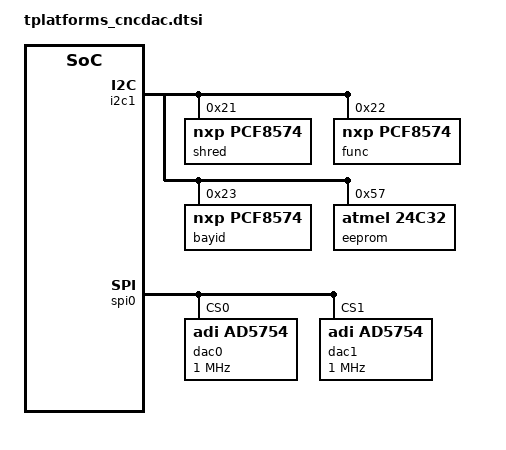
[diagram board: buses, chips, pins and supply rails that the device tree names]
/*
 * Baikal-T/T1 CNC DAC board device tree
 *
 * Copyright (C) 2018 T-platforms JSC
 *
 * This program is free software; you can redistribute it and/or
 * modify it under the terms of the GNU General Public License
 * as published by the Free Software Foundation; either version 2
 * of the License, or (at your option) any later version.
 */

/ {
	/* Reserve memory regions for CMA and NTB */
	reserved-memory {
		#address-cells = <1>;
		#size-cells = <1>;
		ranges;

		/* Reserve 3MB for various CMA-based things (ntb_tool, etc) */
		cma_reserved {
			compatible = "shared-dma-pool";
			size = <0x300000>;
			reusable;
			linux,cma-default;
		};
	};

	/*
	 * Pseudo-device with watchdog timer GPIO-pins declaration. It will be
	 * used in CNC NTB driver to notify CU of possible peripheral board
	 * hang ups.
	 */
	cnc_wd_gpio {
		wd_setup-gpios = <&porta 2  GPIO_ACTIVE_HIGH>, /* wd_set pin */
				 <&porta 27 GPIO_ACTIVE_HIGH>; /* wd_in  pin */
	};

	/*
	 * Pseudo-device with DAC GPIO lines declaration. They are used by CNC
	 * DAC driver logic to notify load DAC registers to outputs.
	 */
	cnc_dac_gpio {
		cnc_ldac1-gpios = <&porta 2 GPIO_ACTIVE_HIGH>; /* LDAC pin for rev1 boards */
		cnc_ldac3-gpios = <&porta 8 GPIO_ACTIVE_HIGH>; /* LDAC pin for rev3 boards */
	};
};

&usb {
	status = "disabled";
};

&sata {
	status = "disabled";
};

&mdio0 {
	status = "disabled";
};

&xgmac {
	status = "disabled";
};

&gmac0 {
	status = "disabled";
};

&gmac1 {
	status = "disabled";
};

/* Board settings devices */
&i2c1 {
	status = "okay";

	shred@21 {
		compatible = "nxp,pcf8574";
		reg = <0x21>;
		gpio-controller;
		#gpio-cells = <2>;
		ngpios = <8>; /* Informative */
	};

	func@22 {
		compatible = "nxp,pcf8574";
		reg = <0x22>;
		gpio-controller;
		#gpio-cells = <2>;
		ngpios = <8>; /* Informative */
	};

	bayid@23 {
		compatible = "nxp,pcf8574";
		reg = <0x23>;
		gpio-controller;
		#gpio-cells = <2>;
		ngpios = <8>; /* Informative */
	};

        eeprom@57 {
                compatible = "atmel,24c32";
                reg = <0x57>;
                pagesize = <16>;
        };
};

&uart1 {
	status = "disabled";
};

/* DA5754 DAC chips */
&spi0 {
	status = "okay";

	num-cs = <2>;

	dac0: da5754@0 {
		compatible = "adi,ad5754";
		reg = <0>;
		spi-max-frequency = <1000000>;
		spi-cpha;
	};

	dac1: da5754@1 {
		compatible = "adi,ad5754";
		reg = <1>;
		spi-max-frequency = <1000000>;
		spi-cpha;
	};
};

&spi1 {
	status = "disabled";
};
